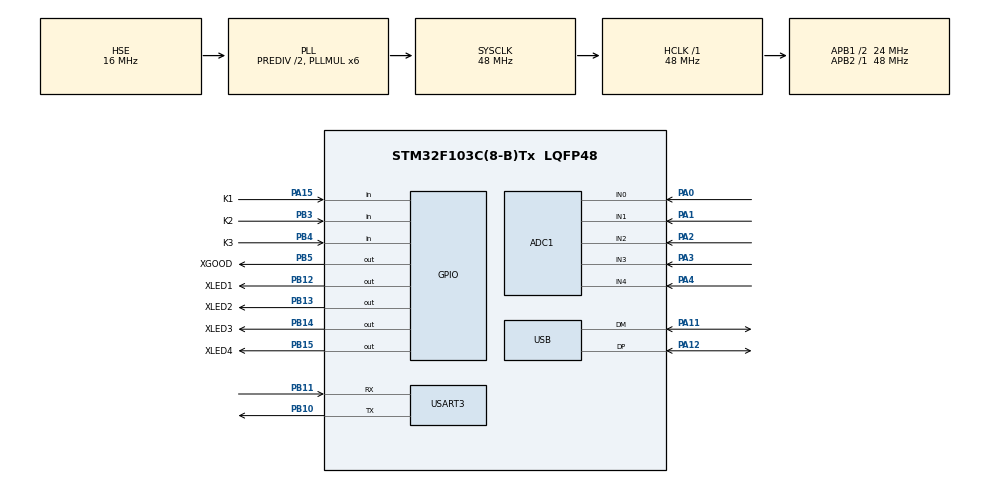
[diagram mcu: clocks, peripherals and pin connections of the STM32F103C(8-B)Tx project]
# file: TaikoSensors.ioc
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ADC1.Channel-0\#ChannelRegularConversion=ADC_CHANNEL_0
ADC1.Channel-1\#ChannelRegularConversion=ADC_CHANNEL_1
ADC1.Channel-2\#ChannelRegularConversion=ADC_CHANNEL_2
ADC1.Channel-3\#ChannelRegularConversion=ADC_CHANNEL_3
ADC1.Channel-4\#ChannelRegularConversion=ADC_CHANNEL_4
ADC1.ContinuousConvMode=DISABLE
ADC1.EnableAnalogWatchDog=false
ADC1.ExternalTrigConv=ADC_EXTERNALTRIGCONV_T3_TRGO
ADC1.NbrOfConversion=5
ADC1.NbrOfConversionFlag=1
ADC1.Rank-0\#ChannelRegularConversion=1
ADC1.Rank-1\#ChannelRegularConversion=2
ADC1.Rank-2\#ChannelRegularConversion=3
ADC1.Rank-3\#ChannelRegularConversion=4
ADC1.Rank-4\#ChannelRegularConversion=5
ADC1.SamplingTime-0\#ChannelRegularConversion=ADC_SAMPLETIME_7CYCLES_5
ADC1.SamplingTime-1\#ChannelRegularConversion=ADC_SAMPLETIME_7CYCLES_5
ADC1.SamplingTime-2\#ChannelRegularConversion=ADC_SAMPLETIME_7CYCLES_5
ADC1.SamplingTime-3\#ChannelRegularConversion=ADC_SAMPLETIME_7CYCLES_5
ADC1.SamplingTime-4\#ChannelRegularConversion=ADC_SAMPLETIME_7CYCLES_5
ADC1.master=1
Dma.ADC1.0.Direction=DMA_PERIPH_TO_MEMORY
Dma.ADC1.0.Instance=DMA1_Channel1
Dma.ADC1.0.MemDataAlignment=DMA_MDATAALIGN_HALFWORD
Dma.ADC1.0.MemInc=DMA_MINC_ENABLE
Dma.ADC1.0.Mode=DMA_CIRCULAR
Dma.ADC1.0.PeriphDataAlignment=DMA_PDATAALIGN_HALFWORD
Dma.ADC1.0.PeriphInc=DMA_PINC_DISABLE
Dma.ADC1.0.Priority=DMA_PRIORITY_HIGH
Dma.Request0=ADC1
Dma.Request1=USART3_RX
Dma.USART3_RX.1.Direction=DMA_PERIPH_TO_MEMORY
Dma.USART3_RX.1.Instance=DMA1_Channel3
Dma.USART3_RX.1.MemDataAlignment=DMA_MDATAALIGN_BYTE
Dma.USART3_RX.1.MemInc=DMA_MINC_ENABLE
Dma.USART3_RX.1.Mode=DMA_NORMAL
Dma.USART3_RX.1.PeriphDataAlignment=DMA_PDATAALIGN_BYTE
Dma.USART3_RX.1.PeriphInc=DMA_PINC_DISABLE
Dma.USART3_RX.1.Priority=DMA_PRIORITY_MEDIUM
Mcu.Family=STM32F1
Mcu.Name=STM32F103C(8-B)Tx
Mcu.Package=LQFP48
Mcu.UserConstants=TIMER_48K,$$_TIM3_IP_HANDLE_$$
NVIC.DMA1_Channel1_IRQn=true\:0\:0\:true\:false\:true\:false\:true\:true
NVIC.DMA1_Channel3_IRQn=true\:0\:0\:false\:false\:true\:false\:true\:true
NVIC.PriorityGroup=NVIC_PRIORITYGROUP_4
NVIC.USART3_IRQn=true\:4\:0\:true\:false\:true\:true\:true\:true
NVIC.USB_LP_CAN1_RX0_IRQn=true\:2\:0\:true\:false\:true\:false\:true\:true
PA0-WKUP.Signal=ADCx_IN0
PA1.Signal=ADCx_IN1
PA11.Mode=Device
PA11.Signal=USB_DM
PA12.Mode=Device
PA12.Signal=USB_DP
PA13.Mode=Serial_Wire
PA13.Signal=SYS_JTMS-SWDIO
PA14.Mode=Serial_Wire
PA14.Signal=SYS_JTCK-SWCLK
PA15.GPIO_Label=K1
PA15.GPIO_PuPd=GPIO_PULLUP
PA15.Signal=GPIO_Input
PA2.Signal=ADCx_IN2
PA3.Signal=ADCx_IN3
PA4.Signal=ADCx_IN4
PB10.Mode=Asynchronous
PB10.Signal=USART3_TX
PB11.Mode=Asynchronous
PB11.Signal=USART3_RX
PB12.GPIO_Label=XLED1
PB12.GPIO_ModeDefaultOutputPP=GPIO_MODE_OUTPUT_PP
PB12.GPIO_PuPd=GPIO_NOPULL
PB12.Signal=GPIO_Output
PB13.GPIO_Label=XLED2
PB13.Signal=GPIO_Output
PB14.GPIO_Label=XLED3
PB14.Signal=GPIO_Output
PB15.GPIO_Label=XLED4
PB15.Signal=GPIO_Output
PB3.GPIO_Label=K2
PB3.GPIO_PuPd=GPIO_PULLUP
PB3.Signal=GPIO_Input
PB4.GPIO_Label=K3
PB4.GPIO_PuPd=GPIO_PULLUP
PB4.Signal=GPIO_Input
PB5.GPIO_Label=XGOOD
PB5.Signal=GPIO_Output
PD0-OSC_IN.Mode=HSE-External-Oscillator
PD0-OSC_IN.Signal=RCC_OSC_IN
PD1-OSC_OUT.Mode=HSE-External-Oscillator
PD1-OSC_OUT.Signal=RCC_OSC_OUT
ProjectManager.HeapSize=0x400
ProjectManager.StackSize=0x400
ProjectManager.TargetToolchain=STM32CubeIDE
RCC.ADCPresc=RCC_ADCPCLK2_DIV4
RCC.AHBFreq_Value=48000000
RCC.APB1CLKDivider=RCC_HCLK_DIV2
RCC.APB1Freq_Value=24000000
RCC.APB1TimFreq_Value=48000000
RCC.APB2Freq_Value=48000000
RCC.APB2TimFreq_Value=48000000
RCC.HCLKFreq_Value=48000000
RCC.HSEDivPLL=RCC_HSE_PREDIV_DIV2
RCC.HSE_VALUE=16000000
RCC.PLLMUL=RCC_PLL_MUL6
RCC.SYSCLKFreq_VALUE=48000000
RCC.SYSCLKSource=RCC_SYSCLKSOURCE_PLLCLK
RCC.USBFreq_Value=48000000
SH.ADCx_IN0.0=ADC1_IN0,IN0
SH.ADCx_IN1.0=ADC1_IN1,IN1
SH.ADCx_IN2.0=ADC1_IN2,IN2
SH.ADCx_IN3.0=ADC1_IN3,IN3
SH.ADCx_IN4.0=ADC1_IN4,IN4
TIM1.AutoReloadPreload=TIM_AUTORELOAD_PRELOAD_ENABLE
TIM1.Period=499
TIM1.Prescaler=47
TIM3.AutoReloadPreload=TIM_AUTORELOAD_PRELOAD_ENABLE
TIM3.Period=9
TIM3.Prescaler=99
TIM3.TIM_MasterOutputTrigger=TIM_TRGO_UPDATE
USART3.VirtualMode=VM_ASYNC
USB_DEVICE.CLASS_NAME_FS=HID
USB_DEVICE.HID_FS_BINTERVAL=0x1
USB_DEVICE.USBD_SELF_POWERED=0
USB_DEVICE.VirtualMode=Hid
USB_DEVICE.VirtualModeFS=Hid_FS
VP_TIM1_VS_ClockSourceINT.Mode=Internal
VP_TIM3_VS_ClockSourceINT.Mode=Internal
VP_USB_DEVICE_VS_USB_DEVICE_HID_FS.Mode=HID_FS
board=custom

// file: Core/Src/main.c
/* USER CODE BEGIN Header */
/**
  ******************************************************************************
  * @file           : main.c
  * @brief          : Main program body
  ******************************************************************************
  * @attention
  *
  * Copyright (c) 2025 STMicroelectronics.
  * All rights reserved.
  *
  * This software is licensed under terms that can be found in the LICENSE file
  * in the root directory of this software component.
  * If no LICENSE file comes with this software, it is provided AS-IS.
  *
  ******************************************************************************
  */
/* USER CODE END Header */
#include "main.h"
#include "usb_device.h"

/* USER CODE BEGIN Includes */
#include "piezo_config.h"
#include "piezosensor.h"
#include "keyboard.h"
#include "debug_output.h"
#include "sensor_config.h"
#include "uart_terminal.h"
#include "usb_cdc_wrapper.h"
#include "usbd_composite_desc.h"
#include "usbd_composite_wrapper.h"
/* USER CODE END Includes */

ADC_HandleTypeDef hadc1;
DMA_HandleTypeDef hdma_adc1;

TIM_HandleTypeDef htim1;
TIM_HandleTypeDef htim3;

UART_HandleTypeDef huart3;
DMA_HandleTypeDef hdma_usart3_rx;

/* USER CODE BEGIN PV */
/* DMA_BUFFER_SIZE is defined in piezo_config.h as SAMPLES_PER_MS * SENSOR_TOTAL_CHANNELS * 2 */
static volatile __attribute__((aligned(4))) uint16_t arrADC1_DMA[DMA_BUFFER_SAMPLES] = {0};  // 480 samples for double buffering

/* XGOOD LED blinking state when config load fails */
typedef struct {
    uint32_t last_toggle_ms;  // Last time LED was toggled
    bool led_state;           // Current LED state (true = on)
} XGOOD_BlinkState_t;

static XGOOD_BlinkState_t g_xgood_blink = {0};

/* Key button state for sensor emulation - K1->sensor3, K2->sensor4, K3->ESC/repeat */
static uint8_t k1_prev = 1;
static uint32_t keys_last_ms = 0;
static uint8_t k2_prev = 1;
static uint8_t k3_prev = 1;
static uint8_t k3_repeat_active = 0;
static uint32_t k3_repeat_last_ms = 0;
#define K3_REPEAT_INTERVAL_MS 200
uint8_t g_k1_pressed = 0, g_k2_pressed = 0;
/* USER CODE END PV */

void SystemClock_Config(void);
static void MX_GPIO_Init(void);
static void MX_DMA_Init(void);
static void MX_ADC1_Init(void);
static void MX_USART3_UART_Init(void);
static void MX_TIM1_Init(void);
static void MX_TIM3_Init(void);

/*================= LED CONTROL FUNCTIONS =================*/

/**
 * @brief Handle XGOOD LED blinking based on device state and USB mode
 * @param current_ms Current system time in milliseconds
 * @note Priority: config failure > drum controller mode > composite mode
 *       - Config failure: Blinks pattern: ON for 200ms, OFF for 800ms (1 second period)
 *       - Drum controller mode: Blink at 5Hz (200ms period, 100ms ON, 100ms OFF)
 *       - Composite mode: LED stays ON
 */
void xgood_led_blink_handler(uint32_t current_ms)
{
    if (sensor_config_load_failed()) {
        /* Config load failed - use failure blink pattern */
        uint32_t elapsed = current_ms - g_xgood_blink.last_toggle_ms;

        if (g_xgood_blink.led_state) {
            /* LED is currently ON - check if 200ms have passed */
            if (elapsed >= 200) {
                /* Turn LED OFF (active low, so set to 1) */
                HAL_GPIO_WritePin(XGOOD_GPIO_Port, XGOOD_Pin, GPIO_PIN_SET);
                g_xgood_blink.led_state = false;
                g_xgood_blink.last_toggle_ms = current_ms;
            }
        } else {
            /* LED is currently OFF - check if 800ms have passed */
            if (elapsed >= 800) {
                /* Turn LED ON (active low, so set to 0) */
                HAL_GPIO_WritePin(XGOOD_GPIO_Port, XGOOD_Pin, GPIO_PIN_RESET);
                g_xgood_blink.led_state = true;
                g_xgood_blink.last_toggle_ms = current_ms;
            }
        }
    }
    else if (g_USB_device_type == DEVICE_TYPE_DRUMCONTROLLER) {
        /* Drum controller mode - flash at 5Hz (200ms period, 100ms on, 100ms off) */
        uint32_t elapsed = current_ms - g_xgood_blink.last_toggle_ms;

        if (elapsed >= 100) { // 100ms = half period for 5Hz
            /* Toggle LED state */
            g_xgood_blink.led_state = !g_xgood_blink.led_state;
            HAL_GPIO_WritePin(XGOOD_GPIO_Port, XGOOD_Pin, g_xgood_blink.led_state ? GPIO_PIN_SET : GPIO_PIN_RESET);
            g_xgood_blink.last_toggle_ms = current_ms;
        }
    }
    else {
        /* Composite mode - LED stays ON */
        HAL_GPIO_WritePin(XGOOD_GPIO_Port, XGOOD_Pin, GPIO_PIN_RESET); // ON (active low)
    }
}

/* USER CODE BEGIN 0 */

/* Forward declarations for functions from piezosensor.c */
#include "piezosensor.h"

/* Include terminal processing in main loop */
void uart_terminal_tick(uint32_t current_ms);

/* Key button polling function - K1->sensor3, K2->sensor4, K3->ESC/repeat */
void key_button_poll(void);

/* USER CODE END 0 */

int main(void)
{

  /* MCU Configuration--------------------------------------------------------*/

  /* Reset of all peripherals, Initializes the Flash interface and the Systick. */
  HAL_Init();

  /* Configure the system clock */
  SystemClock_Config();

  /* USER CODE BEGIN SysInit */
  HAL_Delay(10);

  /* USER CODE END SysInit */

  /* Initialize all configured peripherals */
  MX_GPIO_Init();
  MX_DMA_Init();
  MX_ADC1_Init();
  MX_USART3_UART_Init();

  MX_TIM1_Init();
  MX_TIM3_Init();
  /* USER CODE BEGIN 2 */
  // check USB device mode:
  // any of SW1 ~ SW3 LOW 	-> 	DEVICE_USB_DRUMCONTROLLER
  // otherwise				->	DEVICE_TYPE_KEYBOARD_CDC_COMPOSITE

  uint8_t k1 = HAL_GPIO_ReadPin(K1_GPIO_Port, K1_Pin);
  uint8_t k2 = HAL_GPIO_ReadPin(K2_GPIO_Port, K2_Pin);
  uint8_t k3 = HAL_GPIO_ReadPin(K3_GPIO_Port, K3_Pin);
  if((k1 == 0) || (k2 == 0) || (k3 == 0))
	  g_USB_device_type = DEVICE_TYPE_DRUMCONTROLLER;
  else
	  g_USB_device_type = DEVICE_TYPE_KEYBOARD_CDC_COMPOSITE;
  MX_USB_DEVICE_Init();
  /* Note: HAL_ADC_Start_DMA expects uint32_t*, but our buffer is uint16_t for efficiency
   * Casting to uint32_t* is safe and results in correct DMA transfer behavior */
  HAL_ADC_Start_DMA(&hadc1, (uint32_t*)arrADC1_DMA, DMA_BUFFER_SAMPLES);
  HAL_TIM_Base_Start_IT(&htim3); // start TIM3 so ADC will start

  /* Initialize piezosensor FSM system */
  piezosensor_init();

  /* Initialize debug output */
  debug_init();

  /* Initialize sensor configuration (loads from flash or sets defaults) */
  sensor_config_init();

  /* Turn on XGOOD LED (active low) to indicate MCU is running */
  HAL_GPIO_WritePin(XGOOD_GPIO_Port, XGOOD_Pin, GPIO_PIN_RESET);

  /* USER CODE END 2 */

  /* Infinite loop */
  /* USER CODE BEGIN WHILE */
  while (1)
  {
    /* Process UART terminal idle detection */
    uart_terminal_tick(g_system_ms);

    /* Process USB CDC RX and TX in main loop (async mechanism) */
    usb_cdc_process();

    /* Handle XGOOD LED blinking if config load failed */
    xgood_led_blink_handler(g_system_ms);

    /* USER CODE END WHILE */

  }
}

void SystemClock_Config(void)
{
  RCC_OscInitTypeDef RCC_OscInitStruct = {0};
  RCC_ClkInitTypeDef RCC_ClkInitStruct = {0};
  RCC_PeriphCLKInitTypeDef PeriphClkInit = {0};

  /** Initializes the RCC Oscillators according to the specified parameters
  * in the RCC_OscInitTypeDef structure.
  */
  RCC_OscInitStruct.OscillatorType = RCC_OSCILLATORTYPE_HSE;
  RCC_OscInitStruct.HSEState = RCC_HSE_ON;
  RCC_OscInitStruct.HSEPredivValue = RCC_HSE_PREDIV_DIV2;
  RCC_OscInitStruct.HSIState = RCC_HSI_ON;
  RCC_OscInitStruct.PLL.PLLState = RCC_PLL_ON;
  RCC_OscInitStruct.PLL.PLLSource = RCC_PLLSOURCE_HSE;
  RCC_OscInitStruct.PLL.PLLMUL = RCC_PLL_MUL6;
  if (HAL_RCC_OscConfig(&RCC_OscInitStruct) != HAL_OK)
  {
    Error_Handler();
  }

  /** Initializes the CPU, AHB and APB buses clocks
  */
  RCC_ClkInitStruct.ClockType = RCC_CLOCKTYPE_HCLK|RCC_CLOCKTYPE_SYSCLK
                              |RCC_CLOCKTYPE_PCLK1|RCC_CLOCKTYPE_PCLK2;
  RCC_ClkInitStruct.SYSCLKSource = RCC_SYSCLKSOURCE_PLLCLK;
  RCC_ClkInitStruct.AHBCLKDivider = RCC_SYSCLK_DIV1;
  RCC_ClkInitStruct.APB1CLKDivider = RCC_HCLK_DIV2;
  RCC_ClkInitStruct.APB2CLKDivider = RCC_HCLK_DIV1;

  if (HAL_RCC_ClockConfig(&RCC_ClkInitStruct, FLASH_LATENCY_1) != HAL_OK)
  {
    Error_Handler();
  }
  PeriphClkInit.PeriphClockSelection = RCC_PERIPHCLK_ADC|RCC_PERIPHCLK_USB;
  PeriphClkInit.AdcClockSelection = RCC_ADCPCLK2_DIV4;
  PeriphClkInit.UsbClockSelection = RCC_USBCLKSOURCE_PLL;
  if (HAL_RCCEx_PeriphCLKConfig(&PeriphClkInit) != HAL_OK)
  {
    Error_Handler();
  }
}

static void MX_ADC1_Init(void)
{

  ADC_ChannelConfTypeDef sConfig = {0};

  /** Common config
  */
  hadc1.Instance = ADC1;
  hadc1.Init.ScanConvMode = ADC_SCAN_ENABLE;
  hadc1.Init.ContinuousConvMode = DISABLE;
  hadc1.Init.DiscontinuousConvMode = DISABLE;
  hadc1.Init.ExternalTrigConv = ADC_EXTERNALTRIGCONV_T3_TRGO;
  hadc1.Init.DataAlign = ADC_DATAALIGN_RIGHT;
  hadc1.Init.NbrOfConversion = 5;
  if (HAL_ADC_Init(&hadc1) != HAL_OK)
  {
    Error_Handler();
  }

  /** Configure Regular Channel
  */
  sConfig.Channel = ADC_CHANNEL_0;
  sConfig.Rank = ADC_REGULAR_RANK_1;
  sConfig.SamplingTime = ADC_SAMPLETIME_1CYCLE_5;
  if (HAL_ADC_ConfigChannel(&hadc1, &sConfig) != HAL_OK)
  {
    Error_Handler();
  }

  /** Configure Regular Channel
  */
  sConfig.Channel = ADC_CHANNEL_1;
  sConfig.Rank = ADC_REGULAR_RANK_2;
  if (HAL_ADC_ConfigChannel(&hadc1, &sConfig) != HAL_OK)
  {
    Error_Handler();
  }

  /** Configure Regular Channel
  */
  sConfig.Channel = ADC_CHANNEL_2;
  sConfig.Rank = ADC_REGULAR_RANK_3;
  if (HAL_ADC_ConfigChannel(&hadc1, &sConfig) != HAL_OK)
  {
    Error_Handler();
  }

  /** Configure Regular Channel
  */
  sConfig.Channel = ADC_CHANNEL_3;
  sConfig.Rank = ADC_REGULAR_RANK_4;
  if (HAL_ADC_ConfigChannel(&hadc1, &sConfig) != HAL_OK)
  {
    Error_Handler();
  }

  /** Configure Regular Channel
  */
  sConfig.Channel = ADC_CHANNEL_4;
  sConfig.Rank = ADC_REGULAR_RANK_5;
  if (HAL_ADC_ConfigChannel(&hadc1, &sConfig) != HAL_OK)
  {
    Error_Handler();
  }

}

static void MX_TIM1_Init(void)
{

  TIM_ClockConfigTypeDef sClockSourceConfig = {0};
  TIM_MasterConfigTypeDef sMasterConfig = {0};

  htim1.Instance = TIM1;
  htim1.Init.Prescaler = 47;
  htim1.Init.CounterMode = TIM_COUNTERMODE_UP;
  htim1.Init.Period = 499;
  htim1.Init.ClockDivision = TIM_CLOCKDIVISION_DIV1;
  htim1.Init.RepetitionCounter = 0;
  htim1.Init.AutoReloadPreload = TIM_AUTORELOAD_PRELOAD_ENABLE;
  if (HAL_TIM_Base_Init(&htim1) != HAL_OK)
  {
    Error_Handler();
  }
  sClockSourceConfig.ClockSource = TIM_CLOCKSOURCE_INTERNAL;
  if (HAL_TIM_ConfigClockSource(&htim1, &sClockSourceConfig) != HAL_OK)
  {
    Error_Handler();
  }
  sMasterConfig.MasterOutputTrigger = TIM_TRGO_RESET;
  sMasterConfig.MasterSlaveMode = TIM_MASTERSLAVEMODE_DISABLE;
  if (HAL_TIMEx_MasterConfigSynchronization(&htim1, &sMasterConfig) != HAL_OK)
  {
    Error_Handler();
  }

}

static void MX_TIM3_Init(void)
{

  TIM_ClockConfigTypeDef sClockSourceConfig = {0};
  TIM_MasterConfigTypeDef sMasterConfig = {0};

  htim3.Instance = TIM3;
  htim3.Init.Prescaler = 99;
  htim3.Init.CounterMode = TIM_COUNTERMODE_UP;
  htim3.Init.Period = 9;
  htim3.Init.ClockDivision = TIM_CLOCKDIVISION_DIV1;
  htim3.Init.AutoReloadPreload = TIM_AUTORELOAD_PRELOAD_ENABLE;
  if (HAL_TIM_Base_Init(&htim3) != HAL_OK)
  {
    Error_Handler();
  }
  sClockSourceConfig.ClockSource = TIM_CLOCKSOURCE_INTERNAL;
  if (HAL_TIM_ConfigClockSource(&htim3, &sClockSourceConfig) != HAL_OK)
  {
    Error_Handler();
  }
  sMasterConfig.MasterOutputTrigger = TIM_TRGO_UPDATE;
  sMasterConfig.MasterSlaveMode = TIM_MASTERSLAVEMODE_DISABLE;
  if (HAL_TIMEx_MasterConfigSynchronization(&htim3, &sMasterConfig) != HAL_OK)
  {
    Error_Handler();
  }

}

static void MX_USART3_UART_Init(void)
{

  huart3.Instance = USART3;
  huart3.Init.BaudRate = 115200;
  huart3.Init.WordLength = UART_WORDLENGTH_8B;
  huart3.Init.StopBits = UART_STOPBITS_1;
  huart3.Init.Parity = UART_PARITY_NONE;
  huart3.Init.Mode = UART_MODE_TX_RX;
  huart3.Init.HwFlowCtl = UART_HWCONTROL_NONE;
  huart3.Init.OverSampling = UART_OVERSAMPLING_16;
  if (HAL_UART_Init(&huart3) != HAL_OK)
  {
    Error_Handler();
  }

}

static void MX_DMA_Init(void)
{

  /* DMA controller clock enable */
  __HAL_RCC_DMA1_CLK_ENABLE();

  /* DMA interrupt init */
  /* DMA1_Channel1_IRQn interrupt configuration */
  HAL_NVIC_SetPriority(DMA1_Channel1_IRQn, 0, 0);
  HAL_NVIC_EnableIRQ(DMA1_Channel1_IRQn);
  /* DMA1_Channel3_IRQn interrupt configuration */
  HAL_NVIC_SetPriority(DMA1_Channel3_IRQn, 0, 0);
  HAL_NVIC_EnableIRQ(DMA1_Channel3_IRQn);

}

static void MX_GPIO_Init(void)
{
  GPIO_InitTypeDef GPIO_InitStruct = {0};

  /* GPIO Ports Clock Enable */
  __HAL_RCC_GPIOD_CLK_ENABLE();
  __HAL_RCC_GPIOA_CLK_ENABLE();
  __HAL_RCC_GPIOB_CLK_ENABLE();

  /*Configure GPIO pin Output Level */
  HAL_GPIO_WritePin(GPIOB, XLED1_Pin|XLED2_Pin|XLED3_Pin|XLED4_Pin
                          |XGOOD_Pin, GPIO_PIN_RESET);

  /*Configure GPIO pins : XLED1_Pin XLED2_Pin XLED3_Pin XLED4_Pin
                           XGOOD_Pin */
  GPIO_InitStruct.Pin = XLED1_Pin|XLED2_Pin|XLED3_Pin|XLED4_Pin
                          |XGOOD_Pin;
  GPIO_InitStruct.Mode = GPIO_MODE_OUTPUT_PP;
  GPIO_InitStruct.Pull = GPIO_NOPULL;
  GPIO_InitStruct.Speed = GPIO_SPEED_FREQ_LOW;
  HAL_GPIO_Init(GPIOB, &GPIO_InitStruct);

  /*Configure GPIO pin : K1_Pin */
  GPIO_InitStruct.Pin = K1_Pin;
  GPIO_InitStruct.Mode = GPIO_MODE_INPUT;
  GPIO_InitStruct.Pull = GPIO_PULLUP;
  HAL_GPIO_Init(K1_GPIO_Port, &GPIO_InitStruct);

  /*Configure GPIO pins : K2_Pin K3_Pin */
  GPIO_InitStruct.Pin = K2_Pin|K3_Pin;
  GPIO_InitStruct.Mode = GPIO_MODE_INPUT;
  GPIO_InitStruct.Pull = GPIO_PULLUP;
  HAL_GPIO_Init(GPIOB, &GPIO_InitStruct);

}

/* USER CODE BEGIN 4 */

//static uint16_t arrADC1_DMA_copy[DMA_BUFFER_SAMPLES];
void HAL_ADC_ConvHalfCpltCallback(ADC_HandleTypeDef* hadc)
{
    if (hadc->Instance == ADC1)
    {
        /* Process first half of DMA buffer (samples 0-239) */
//    	memcpy(arrADC1_DMA_copy, arrADC1_DMA, sizeof(arrADC1_DMA)); // for breakpoint
        extract_envelope_from_samples(arrADC1_DMA, 0);
        trigger_fsm_process();
        cooldown_fsm_process();
        decay_adjusted_threshold();
        increment_system_ms();

        /* Poll key buttons for sensor emulation */
        key_button_poll();

        /* Check if LEDs need to turn off */
        led_check_turn_off(g_system_ms);

        /* Output max values every 100ms */
        debug_output_if_needed(g_system_ms);

        /* Process afterglow expirations and send buffered HID reports */
        hid_process_afterglow();
        hid_send_buffered_reports();

        /* LED handling is done in main loop only to avoid interrupt context issues */
    }
}

void HAL_ADC_ConvCpltCallback(ADC_HandleTypeDef* hadc)
{
    if (hadc->Instance == ADC1)
    {
        /* Process second half of DMA buffer (samples 240-479) */
//    	memcpy(arrADC1_DMA_copy, arrADC1_DMA, sizeof(arrADC1_DMA)); // for breakpoint
        extract_envelope_from_samples(arrADC1_DMA, 240);
        trigger_fsm_process();
        cooldown_fsm_process();
        decay_adjusted_threshold();
        increment_system_ms();
        /* Poll key buttons for sensor emulation */
        key_button_poll();

        /* Check if LEDs need to turn off */
        led_check_turn_off(g_system_ms);

        /* Output max values every 100ms */
        debug_output_if_needed(g_system_ms);

        /* Process afterglow expirations and send buffered HID reports */
        hid_process_afterglow();
        /* Poll key buttons for sensor emulation */
        hid_send_buffered_reports();

        /* LED handling is done in main loop only to avoid interrupt context issues */
    }
}

/**
 * @brief Key button polling function for sensor emulation
 *
 * K1 -> sensor 3 (left center) trigger
 * K2 -> sensor 4 (left rim) trigger
 * K3 -> ESC key (short click), or repeat sensor 3 (long press 500ms, repeat every 200ms)
 */
void key_button_poll(void)
{
	static uint8_t key_overwritten = 0;
    uint8_t k1 = HAL_GPIO_ReadPin(K1_GPIO_Port, K1_Pin);
    uint8_t k2 = HAL_GPIO_ReadPin(K2_GPIO_Port, K2_Pin);
    uint8_t k3 = HAL_GPIO_ReadPin(K3_GPIO_Port, K3_Pin);
    uint32_t now = g_system_ms;

    // K1 -> sensor 2 (right center) on press edge
    if (k1 == 0 && k1_prev == 1) {
    	g_k1_pressed = 1;
    	// overwrite the key code
    	g_sensors[1].drumcontroller_keycode = JOYSTICK_BUTTON_A | JOYSTICK_BUTTON_Y; // X for calibrate
    	g_sensors[1].hid_keycode = KEY_J; // J for calibrate
    	schedule_key_press(1);
    	keys_last_ms = now;
    	key_overwritten = 1;
    }

    k1_prev = k1;

    // K2 -> sensor 4 (left rim) on press edge
    if (k2 == 0 && k2_prev == 1) {
    	g_k2_pressed = 1;
    	// overwrite the key code
    	g_sensors[1].drumcontroller_keycode = JOYSTICK_BUTTON_A | JOYSTICK_BUTTON_X; // X for calibrate
    	g_sensors[1].hid_keycode = KEY_J; // J for calibrate
    	schedule_key_press(1);
    	keys_last_ms = now;
    	key_overwritten = 1;
    }
    k2_prev = k2;

    // K3 handling:
    // - Short click: ESC key
    // - Long press (hold 500ms): enter repeat mode, sends sensor 3 every 200ms
    // - Click again while repeating: exit repeat mode
    if (k3 == 0 && k3_prev == 1) {
        // K3 just pressed
        if (k3_repeat_active) {
            // Was in repeat mode - exit it
            k3_repeat_active = 0;
        } else {
            // Wasn't repeating - send ESC key (uses sensor 1's structure but with ESC keycode)
            g_sensors[2].hid_keycode = KEY_ESC;
            schedule_key_press(2);
            g_sensors[2].hid_keycode = SENSOR_1_KEYCODE;

            // Start long-press timer to enter repeat mode
            key_overwritten = 1;
            k3_repeat_last_ms = now;
        }
        keys_last_ms = now;
    }
    else if (k3 == 0 && !k3_repeat_active) {
        // K3 held - check for long press (500ms) to enter repeat mode
        if (now - k3_repeat_last_ms >= 500) {
            k3_repeat_active = 1;
            k3_repeat_last_ms = now;
        }
    }

    if (k3_repeat_active && k3 == 0) {
        // Repeat mode active - send sensor 3 every 200ms
        if (now - k3_repeat_last_ms >= K3_REPEAT_INTERVAL_MS) {
            schedule_key_press(2);  // sensor 3
            k3_repeat_last_ms = now;
        }
    }

    k3_prev = k3;

    // recover overwritten key codes
    if((now - keys_last_ms > 1000) &&  (key_overwritten))
    {
    	for(int isensor = 0; isensor < SENSORS_ACTIVE; ++isensor) init_keycodes(isensor);
    	key_overwritten = 0;
    }
}

/* USER CODE END 4 */

void Error_Handler(void)
{
  __disable_irq();
  while (1)
  {
  }
}
